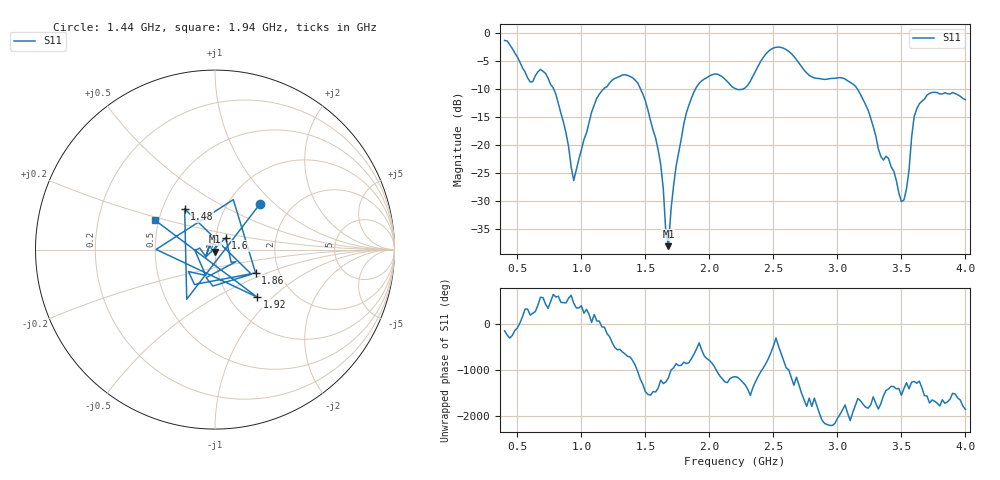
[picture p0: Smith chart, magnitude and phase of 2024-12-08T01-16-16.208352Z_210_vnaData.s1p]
!Created with skrf (http://scikit-rf.org).
# Hz S RI R 50.0
!freq ReS11 ImS11
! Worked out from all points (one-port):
!   181 points, 400 MHz to 4 GHz, reference 50 ohm
!   lowest |S11| = -38.1 dB at 1.68 GHz (marker M1), VSWR 1.03, Z = 50 - j1.24 ohm
!   |S11| at or under -10 dB: 782.3 MHz to 1.176 GHz (393.6 MHz wide, 40.2 % of centre); 1.461 GHz to 1.893 GHz (431.7 MHz wide, 25.7 % of centre); 3.155 GHz to end of sweep (the widest 3 of 4)
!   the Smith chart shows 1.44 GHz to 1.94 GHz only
!   S11 on the Smith chart (normalised r, x): 1.44 GHz: 1.39, +0.80; 1.48 GHz: 0.65, +0.32; 1.6 GHz: 1.12, +0.15; 1.86 GHz: 1.51, -0.42; 1.92 GHz: 1.33, -0.80; 1.94 GHz: 0.48, +0.18
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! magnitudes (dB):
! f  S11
! 400 MHz  -1.4
! 600 MHz  -8.8
! 720 MHz  -7.3
! 860 MHz  -16.0
! 940 MHz  -26.4
! 1.12 GHz  -11.7
! 1.3 GHz  -7.8
! 1.44 GHz  -9.0
! 1.48 GHz  -11.0
! 1.6 GHz  -21.0
! 1.68 GHz  -38.1
! 1.72 GHz  -27.4
! 1.76 GHz  -21.4
! 1.86 GHz  -11.7
! 1.92 GHz  -9.0
! 1.94 GHz  -8.6
! 2.2 GHz  -10.0
! 2.48 GHz  -3.0
! 2.66 GHz  -4.2
! 2.8 GHz  -7.9
! 3.1 GHz  -8.9
! 3.24 GHz  -13.8
! 3.34 GHz  -22.1
! 3.5 GHz  -30.2
! 3.56 GHz  -24.5
! 3.6 GHz  -15.0
! 3.64 GHz  -12.7
! 4 GHz  -12.0
